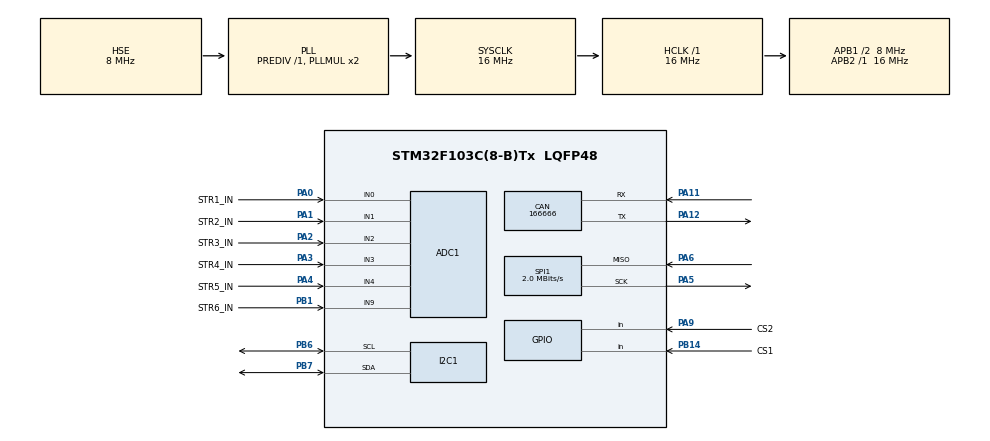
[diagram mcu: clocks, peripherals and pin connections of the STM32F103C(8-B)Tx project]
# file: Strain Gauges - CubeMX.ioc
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ADC1.Channel-0\#ChannelRegularConversion=ADC_CHANNEL_0
ADC1.NbrOfConversionFlag=1
ADC1.Rank-0\#ChannelRegularConversion=1
ADC1.SamplingTime-0\#ChannelRegularConversion=ADC_SAMPLETIME_1CYCLE_5
ADC1.master=1
CAN.BS1=CAN_BS1_1TQ
CAN.BS2=CAN_BS2_1TQ
CAN.CalculateBaudRate=166666
CAN.CalculateTimeBit=6000
CAN.CalculateTimeQuantum=2000.0
Dma.ADC1.0.Direction=DMA_PERIPH_TO_MEMORY
Dma.ADC1.0.Instance=DMA1_Channel1
Dma.ADC1.0.MemDataAlignment=DMA_MDATAALIGN_WORD
Dma.ADC1.0.MemInc=DMA_MINC_ENABLE
Dma.ADC1.0.Mode=DMA_NORMAL
Dma.ADC1.0.PeriphDataAlignment=DMA_PDATAALIGN_HALFWORD
Dma.ADC1.0.PeriphInc=DMA_PINC_DISABLE
Dma.ADC1.0.Priority=DMA_PRIORITY_LOW
Dma.Request0=ADC1
Mcu.Family=STM32F1
Mcu.Name=STM32F103C(8-B)Tx
Mcu.Package=LQFP48
NVIC.DMA1_Channel1_IRQn=true\:0\:0\:false\:false\:true\:false\:true\:true
NVIC.PriorityGroup=NVIC_PRIORITYGROUP_4
PA0-WKUP.GPIO_Label=STR1_IN
PA0-WKUP.Signal=ADCx_IN0
PA1.GPIO_Label=STR2_IN
PA1.Signal=ADCx_IN1
PA11.Mode=CAN_Activate
PA11.Signal=CAN_RX
PA12.Mode=CAN_Activate
PA12.Signal=CAN_TX
PA13.Mode=JTAG_4_pins
PA13.Signal=SYS_JTMS-SWDIO
PA14.Mode=JTAG_4_pins
PA14.Signal=SYS_JTCK-SWCLK
PA15.Mode=JTAG_4_pins
PA15.Signal=SYS_JTDI
PA2.GPIO_Label=STR3_IN
PA2.Signal=ADCx_IN2
PA3.GPIO_Label=STR4_IN
PA3.Signal=ADCx_IN3
PA4.GPIO_Label=STR5_IN
PA4.Signal=ADCx_IN4
PA5.Mode=RX_Only_Simplex_Unidirect_Master
PA5.Signal=SPI1_SCK
PA6.Mode=RX_Only_Simplex_Unidirect_Master
PA6.Signal=SPI1_MISO
PA9.GPIO_Label=CS2
PA9.Signal=GPIO_Input
PB1.GPIO_Label=STR6_IN
PB1.Signal=ADCx_IN9
PB14.GPIO_Label=CS1
PB14.Signal=GPIO_Input
PB3.Mode=JTAG_4_pins
PB3.Signal=SYS_JTDO-TRACESWO
PB6.GPIO_Pu=GPIO_PULLUP
PB6.Mode=I2C
PB6.Signal=I2C1_SCL
PB7.GPIO_Pu=GPIO_PULLUP
PB7.Mode=I2C
PB7.Signal=I2C1_SDA
PD0-OSC_IN.Mode=HSE-External-Oscillator
PD0-OSC_IN.Signal=RCC_OSC_IN
PD1-OSC_OUT.Mode=HSE-External-Oscillator
PD1-OSC_OUT.Signal=RCC_OSC_OUT
ProjectManager.HeapSize=0x200
ProjectManager.StackSize=0x400
ProjectManager.TargetToolchain=STM32CubeIDE
RCC.AHBFreq_Value=16000000
RCC.APB1CLKDivider=RCC_HCLK_DIV2
RCC.APB1Freq_Value=8000000
RCC.APB1TimFreq_Value=16000000
RCC.APB2Freq_Value=16000000
RCC.APB2TimFreq_Value=16000000
RCC.HCLKFreq_Value=16000000
RCC.PLLSourceVirtual=RCC_PLLSOURCE_HSE
RCC.SYSCLKFreq_VALUE=16000000
RCC.SYSCLKSource=RCC_SYSCLKSOURCE_PLLCLK
RCC.USBFreq_Value=16000000
SH.ADCx_IN0.0=ADC1_IN0,IN0
SH.ADCx_IN1.0=ADC1_IN1,IN1
SH.ADCx_IN2.0=ADC1_IN2,IN2
SH.ADCx_IN3.0=ADC1_IN3,IN3
SH.ADCx_IN4.0=ADC1_IN4,IN4
SH.ADCx_IN9.0=ADC1_IN9,IN9
SPI1.BaudRatePrescaler=SPI_BAUDRATEPRESCALER_8
SPI1.CalculateBaudRate=2.0 MBits/s
SPI1.DataSize=SPI_DATASIZE_16BIT
SPI1.Direction=SPI_DIRECTION_2LINES_RXONLY
SPI1.Mode=SPI_MODE_MASTER
SPI1.VirtualType=VM_MASTER
VP_FATFS_VS_Generic.Mode=User_defined
board=custom

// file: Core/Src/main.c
/* USER CODE BEGIN Header */
/**
  ******************************************************************************
  * @file           : main.c
  * @brief          : Main program body
  ******************************************************************************
  * @attention
  *
  * Copyright (c) 2022 STMicroelectronics.
  * All rights reserved.
  *
  * This software is licensed under terms that can be found in the LICENSE file
  * in the root directory of this software component.
  * If no LICENSE file comes with this software, it is provided AS-IS.
  *
  ******************************************************************************
  */
/* USER CODE END Header */
#include "main.h"
#include "fatfs.h"

/* USER CODE BEGIN Includes */
#include "MAX6675.h"
#include <stdlib.h>
#include <stdio.h>
#include <string.h>
/* USER CODE END Includes */

/* USER CODE BEGIN PD */
#define ADC_BUF_LEN 4096
#define ADC_INPUT_NUM 6
#define ADC_MAX_VALUE 4096 // 12-bit resolution, so max adc value is 2^12.
#define CAN_DEFAULT_ID 50
/* USER CODE END PD */

 ADC_HandleTypeDef hadc1;
DMA_HandleTypeDef hdma_adc1;

CAN_HandleTypeDef hcan;

I2C_HandleTypeDef hi2c1;

SPI_HandleTypeDef hspi1;

/* USER CODE BEGIN PV */

CAN_TxHeaderTypeDef	TxHeader;
uint8_t TxData[8];
uint32_t TxMailBox;

/* USER CODE END PV */

void SystemClock_Config(void);
static void MX_GPIO_Init(void);
static void MX_CAN_Init(void);
static void MX_I2C1_Init(void);
static void MX_SPI1_Init(void);
static void MX_DMA_Init(void);
static void MX_ADC1_Init(void);

int main(void)
{
  /* USER CODE BEGIN 1 */
	uint32_t adc_values[ADC_INPUT_NUM] = {'0'};
	uint8_t i = 0, j= 0 ;
	uint8_t canId[ADC_INPUT_NUM]={0};
	char can_msg[8]={'\0'};

	/* Variables for strain conversion */
	float a = 4.9e-7;
	float gain = 500, gf = 2.022, vref = 2.5;
	float e[ADC_INPUT_NUM] = {'0'};
	float voltage_read [ADC_INPUT_NUM] ={'0'};

	/*
	* Each number is exactly 8 bytes. So, one number is sent at a time.
	*/
  /* USER CODE END 1 */

  /* MCU Configuration--------------------------------------------------------*/

  /* Reset of all peripherals, Initializes the Flash interface and the Systick. */
  HAL_Init();

  /* USER CODE BEGIN Init */

//  HAL_ADC_Init(&hadc1); // Initializes HAL lib
//  HAL_ADCEx_Calibration_Start(&hadc1);

  for (i=0;i<ADC_INPUT_NUM;i++) {
    canId[i] = CAN_DEFAULT_ID + i;
  } // Set the correct IDs for CAN Bus

  /* USER CODE END Init */

  /* Configure the system clock */
  SystemClock_Config();

  /* Initialize all configured peripherals */
  MX_GPIO_Init();
  MX_CAN_Init();
  MX_I2C1_Init();
  MX_SPI1_Init();
  MX_DMA_Init();
  MX_ADC1_Init();
  MX_FATFS_Init();
  /* USER CODE BEGIN 2 */

  if (HAL_ADC_Start_DMA(&hadc1, adc_values, ADC_INPUT_NUM) != HAL_OK) {
  	  Error_Handler();
  }

  /* USER CODE END 2 */

  /* Infinite loop */
  while (1)
  {

    /* USER CODE BEGIN 3 */
	  for (i=0;i<ADC_INPUT_NUM;i++) {
		  // d8 = Max6675_Read_Temp_1();
		  // d8 = Max6675_Read_Temp_2()
		  voltage_read[i] = ((float)adc_values[i]/(float)ADC_MAX_VALUE) * 3.3;
		  /* Early code for strain gauge measurement */
		  e[i] = 4*(1.52*voltage_read[i] - vref)/(5*gain-2*(1.52*voltage_read[i] - vref)*gf*(1+a*1));
	  }
	  TxHeader.IDE = CAN_ID_EXT;
	  TxHeader.RTR = CAN_RTR_DATA;
	  TxHeader.DLC = 6;

	  i=0;
	  j=0;
	  while (1) {
		 if (i > ADC_INPUT_NUM) {
			 break;
		 }
		 TxHeader.ExtId= canId[j++];
		 memcpy(&can_msg[0], &e[i], 4);
		 memcpy(&can_msg[4], &e[++i], 4); // One float number is 4 bytes, so 2 numbers are sent on one CAN BUS message.
		 while (HAL_CAN_Init(&hcan) != HAL_OK) {}; // wait while CAN initializes
		 while (HAL_CAN_Start(&hcan) != HAL_OK) {}; // wait while CAN starts
		 if (HAL_CAN_GetTxMailboxesFreeLevel(&hcan) > 0) {
			 if (HAL_CAN_AddTxMessage(&hcan, &TxHeader, (uint8_t *)can_msg, &TxMailBox) != HAL_OK) {
				 Error_Handler();
			 } // Send calculated strain values through CAN Network
		 }
		 i++;
	  }
  }
  /* USER CODE END 3 */
}

void SystemClock_Config(void)
{
  RCC_OscInitTypeDef RCC_OscInitStruct = {0};
  RCC_ClkInitTypeDef RCC_ClkInitStruct = {0};
  RCC_PeriphCLKInitTypeDef PeriphClkInit = {0};

  /** Initializes the RCC Oscillators according to the specified parameters
  * in the RCC_OscInitTypeDef structure.
  */
  RCC_OscInitStruct.OscillatorType = RCC_OSCILLATORTYPE_HSE;
  RCC_OscInitStruct.HSEState = RCC_HSE_ON;
  RCC_OscInitStruct.HSEPredivValue = RCC_HSE_PREDIV_DIV1;
  RCC_OscInitStruct.HSIState = RCC_HSI_ON;
  RCC_OscInitStruct.PLL.PLLState = RCC_PLL_ON;
  RCC_OscInitStruct.PLL.PLLSource = RCC_PLLSOURCE_HSE;
  RCC_OscInitStruct.PLL.PLLMUL = RCC_PLL_MUL2;
  if (HAL_RCC_OscConfig(&RCC_OscInitStruct) != HAL_OK)
  {
    Error_Handler();
  }

  /** Initializes the CPU, AHB and APB buses clocks
  */
  RCC_ClkInitStruct.ClockType = RCC_CLOCKTYPE_HCLK|RCC_CLOCKTYPE_SYSCLK
                              |RCC_CLOCKTYPE_PCLK1|RCC_CLOCKTYPE_PCLK2;
  RCC_ClkInitStruct.SYSCLKSource = RCC_SYSCLKSOURCE_PLLCLK;
  RCC_ClkInitStruct.AHBCLKDivider = RCC_SYSCLK_DIV1;
  RCC_ClkInitStruct.APB1CLKDivider = RCC_HCLK_DIV2;
  RCC_ClkInitStruct.APB2CLKDivider = RCC_HCLK_DIV1;

  if (HAL_RCC_ClockConfig(&RCC_ClkInitStruct, FLASH_LATENCY_0) != HAL_OK)
  {
    Error_Handler();
  }
  PeriphClkInit.PeriphClockSelection = RCC_PERIPHCLK_ADC;
  PeriphClkInit.AdcClockSelection = RCC_ADCPCLK2_DIV2;
  if (HAL_RCCEx_PeriphCLKConfig(&PeriphClkInit) != HAL_OK)
  {
    Error_Handler();
  }
}

static void MX_ADC1_Init(void)
{

  ADC_ChannelConfTypeDef sConfig = {0};

  /** Common config
  */
  hadc1.Instance = ADC1;
  hadc1.Init.ScanConvMode = ADC_SCAN_DISABLE;
  hadc1.Init.ContinuousConvMode = DISABLE;
  hadc1.Init.DiscontinuousConvMode = DISABLE;
  hadc1.Init.ExternalTrigConv = ADC_SOFTWARE_START;
  hadc1.Init.DataAlign = ADC_DATAALIGN_RIGHT;
  hadc1.Init.NbrOfConversion = 1;
  if (HAL_ADC_Init(&hadc1) != HAL_OK)
  {
    Error_Handler();
  }

  /** Configure Regular Channel
  */
  sConfig.Channel = ADC_CHANNEL_0;
  sConfig.Rank = ADC_REGULAR_RANK_1;
  sConfig.SamplingTime = ADC_SAMPLETIME_1CYCLE_5;
  if (HAL_ADC_ConfigChannel(&hadc1, &sConfig) != HAL_OK)
  {
    Error_Handler();
  }

}

static void MX_CAN_Init(void)
{

  hcan.Instance = CAN1;
  hcan.Init.Prescaler = 16;
  hcan.Init.Mode = CAN_MODE_NORMAL;
  hcan.Init.SyncJumpWidth = CAN_SJW_1TQ;
  hcan.Init.TimeSeg1 = CAN_BS1_1TQ;
  hcan.Init.TimeSeg2 = CAN_BS2_1TQ;
  hcan.Init.TimeTriggeredMode = DISABLE;
  hcan.Init.AutoBusOff = DISABLE;
  hcan.Init.AutoWakeUp = DISABLE;
  hcan.Init.AutoRetransmission = DISABLE;
  hcan.Init.ReceiveFifoLocked = DISABLE;
  hcan.Init.TransmitFifoPriority = DISABLE;
  if (HAL_CAN_Init(&hcan) != HAL_OK)
  {
    Error_Handler();
  }

}

static void MX_I2C1_Init(void)
{

  hi2c1.Instance = I2C1;
  hi2c1.Init.ClockSpeed = 100000;
  hi2c1.Init.DutyCycle = I2C_DUTYCYCLE_2;
  hi2c1.Init.OwnAddress1 = 0;
  hi2c1.Init.AddressingMode = I2C_ADDRESSINGMODE_7BIT;
  hi2c1.Init.DualAddressMode = I2C_DUALADDRESS_DISABLE;
  hi2c1.Init.OwnAddress2 = 0;
  hi2c1.Init.GeneralCallMode = I2C_GENERALCALL_DISABLE;
  hi2c1.Init.NoStretchMode = I2C_NOSTRETCH_DISABLE;
  if (HAL_I2C_Init(&hi2c1) != HAL_OK)
  {
    Error_Handler();
  }

}

static void MX_SPI1_Init(void)
{

  /* SPI1 parameter configuration*/
  hspi1.Instance = SPI1;
  hspi1.Init.Mode = SPI_MODE_MASTER;
  hspi1.Init.Direction = SPI_DIRECTION_2LINES_RXONLY;
  hspi1.Init.DataSize = SPI_DATASIZE_16BIT;
  hspi1.Init.CLKPolarity = SPI_POLARITY_LOW;
  hspi1.Init.CLKPhase = SPI_PHASE_1EDGE;
  hspi1.Init.NSS = SPI_NSS_SOFT;
  hspi1.Init.BaudRatePrescaler = SPI_BAUDRATEPRESCALER_8;
  hspi1.Init.FirstBit = SPI_FIRSTBIT_MSB;
  hspi1.Init.TIMode = SPI_TIMODE_DISABLE;
  hspi1.Init.CRCCalculation = SPI_CRCCALCULATION_DISABLE;
  hspi1.Init.CRCPolynomial = 10;
  if (HAL_SPI_Init(&hspi1) != HAL_OK)
  {
    Error_Handler();
  }

}

static void MX_DMA_Init(void)
{

  /* DMA controller clock enable */
  __HAL_RCC_DMA1_CLK_ENABLE();

  /* DMA interrupt init */
  /* DMA1_Channel1_IRQn interrupt configuration */
  HAL_NVIC_SetPriority(DMA1_Channel1_IRQn, 0, 0);
  HAL_NVIC_EnableIRQ(DMA1_Channel1_IRQn);

}

static void MX_GPIO_Init(void)
{
  GPIO_InitTypeDef GPIO_InitStruct = {0};

  /* GPIO Ports Clock Enable */
  __HAL_RCC_GPIOD_CLK_ENABLE();
  __HAL_RCC_GPIOA_CLK_ENABLE();
  __HAL_RCC_GPIOB_CLK_ENABLE();

  /*Configure GPIO pin : CS1_Pin */
  GPIO_InitStruct.Pin = CS1_Pin;
  GPIO_InitStruct.Mode = GPIO_MODE_INPUT;
  GPIO_InitStruct.Pull = GPIO_NOPULL;
  HAL_GPIO_Init(CS1_GPIO_Port, &GPIO_InitStruct);

  /*Configure GPIO pin : CS2_Pin */
  GPIO_InitStruct.Pin = CS2_Pin;
  GPIO_InitStruct.Mode = GPIO_MODE_INPUT;
  GPIO_InitStruct.Pull = GPIO_NOPULL;
  HAL_GPIO_Init(CS2_GPIO_Port, &GPIO_InitStruct);

}

void Error_Handler(void)
{
  __disable_irq();
  while (1)
  {
  }
}
